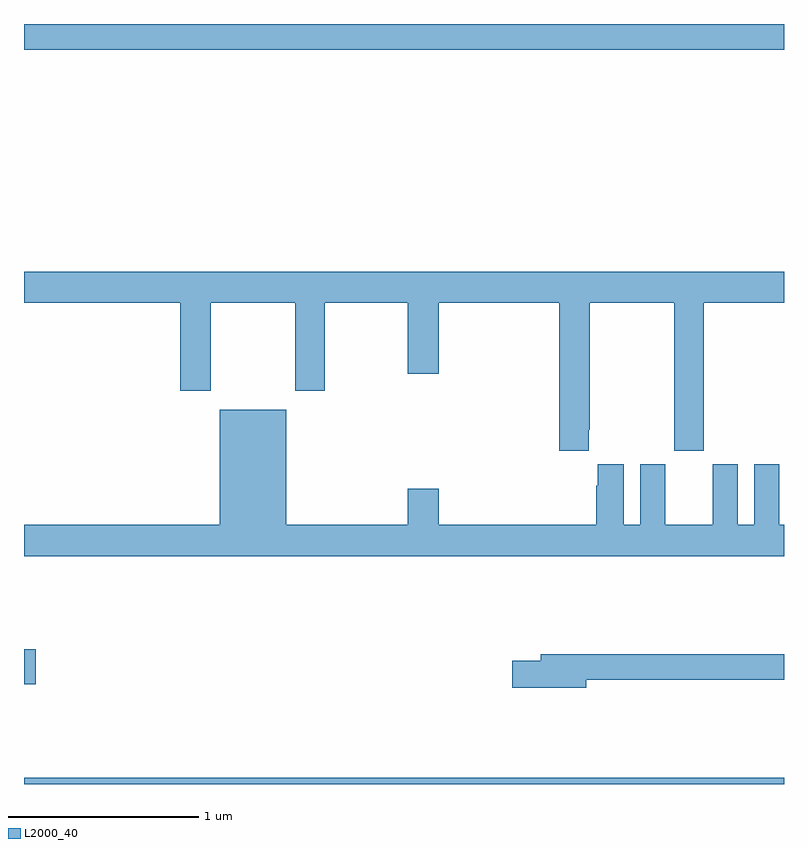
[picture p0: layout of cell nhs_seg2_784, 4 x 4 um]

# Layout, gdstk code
import gdstk
lib = gdstk.Library(unit=1e-6, precision=1e-09)
def R(c, l, rs):  # rectangles x0, y0, x1, y1
    for r in rs: c.add(gdstk.rectangle(r[:2], r[2:], *l))
def P(c, l, *ps):  # polygons
    for p in ps: c.add(gdstk.Polygon(p, *l))
L2000_40 = (2000, 40)

nhs_seg2_784 = lib.new_cell('nhs_seg2_784')
R(nhs_seg2_784, L2000_40, [(151,615.8,155,615.832), (151,616.325,151.063,616.508), (151,619.664,155,619.8)])
P(nhs_seg2_784, L2000_40, [(151,618.332),(151.823,618.332),(151.823,617.871),(151.983,617.871),(151.983,618.332),(152.428,618.332),(152.428,617.871),(152.583,617.871),(152.583,618.332),(153.02,618.332),(153.02,617.958),(153.184,617.958),(153.184,618.332),(153.818,618.332),(153.818,617.553),(153.973,617.553),(153.973,617.665),(153.978,617.665),(153.978,618.332),(154.423,618.332),(154.423,617.553),(154.578,617.553),(154.578,618.332),(155,618.332),(155,618.496),(151,618.496)],
  [(155,617.164),(154.975,617.164),(154.975,617.482),(154.844,617.482),(154.844,617.164),(154.756,617.164),(154.756,617.482),(154.625,617.482),(154.625,617.164),(154.375,617.164),(154.375,617.482),(154.244,617.482),(154.244,617.164),(154.156,617.164),(154.156,617.482),(154.019,617.482),(154.019,617.369),(154.013,617.369),(154.013,617.164),(153.184,617.164),(153.184,617.353),(153.02,617.353),(153.02,617.164),(152.38,617.164),(152.38,617.77),(152.03,617.77),(152.03,617.164),(151,617.164),(151,617),(155,617)],
  [(153.958,616.348),(155,616.348),(155,616.484),(153.719,616.484),(153.719,616.448),(153.57,616.448),(153.57,616.306),(153.958,616.306)])

lib.write_gds('nhs_seg2_784.gds')
